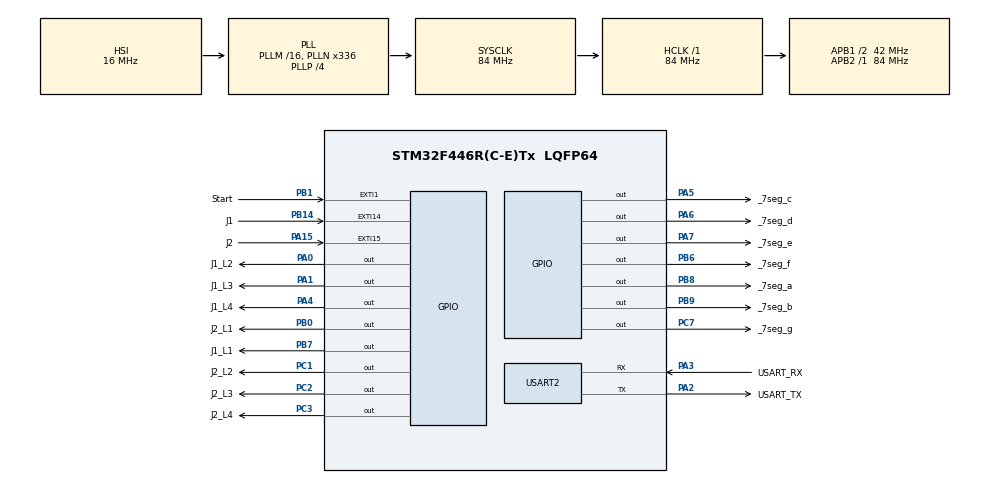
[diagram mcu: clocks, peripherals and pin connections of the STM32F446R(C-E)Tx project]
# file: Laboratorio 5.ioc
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Mcu.Family=STM32F4
Mcu.Name=STM32F446R(C-E)Tx
Mcu.Package=LQFP64
NVIC.EXTI15_10_IRQn=true\:0\:0\:false\:false\:true\:true\:true\:true
NVIC.EXTI1_IRQn=true\:0\:0\:false\:false\:true\:true\:true\:true
NVIC.PriorityGroup=NVIC_PRIORITYGROUP_0
PA0-WKUP.GPIO_Label=J1_L2
PA0-WKUP.Signal=GPIO_Output
PA1.GPIO_Label=J1_L3
PA1.Signal=GPIO_Output
PA15.GPIO_Label=J2
PA15.GPIO_ModeDefaultEXTI=GPIO_MODE_IT_FALLING
PA15.GPIO_PuPd=GPIO_PULLUP
PA15.Signal=GPXTI15
PA2.GPIO_Label=USART_TX
PA2.Mode=Asynchronous
PA2.Signal=USART2_TX
PA3.GPIO_Label=USART_RX
PA3.Mode=Asynchronous
PA3.Signal=USART2_RX
PA4.GPIO_Label=J1_L4
PA4.Signal=GPIO_Output
PA5.GPIO_Label=_7seg_c
PA5.Signal=GPIO_Output
PA6.GPIO_Label=_7seg_d
PA6.Signal=GPIO_Output
PA7.GPIO_Label=_7seg_e
PA7.Signal=GPIO_Output
PB0.GPIO_Label=J2_L1
PB0.Signal=GPIO_Output
PB1.GPIO_Label=Start
PB1.GPIO_ModeDefaultEXTI=GPIO_MODE_IT_FALLING
PB1.GPIO_PuPd=GPIO_PULLUP
PB1.Signal=GPXTI1
PB14.GPIO_Label=J1
PB14.GPIO_ModeDefaultEXTI=GPIO_MODE_IT_FALLING
PB14.GPIO_PuPd=GPIO_PULLUP
PB14.Signal=GPXTI14
PB3.GPIO_Label=SWO
PB3.Signal=SYS_JTDO-SWO
PB6.GPIO_Label=_7seg_f
PB6.Signal=GPIO_Output
PB7.GPIO_Label=J1_L1
PB7.Signal=GPIO_Output
PB8.GPIO_Label=_7seg_a
PB8.Signal=GPIO_Output
PB9.GPIO_Label=_7seg_b
PB9.Signal=GPIO_Output
PC1.GPIO_Label=J2_L2
PC1.Signal=GPIO_Output
PC14-OSC32_IN.Mode=LSE-External-Oscillator
PC14-OSC32_IN.Signal=RCC_OSC32_IN
PC15-OSC32_OUT.Mode=LSE-External-Oscillator
PC15-OSC32_OUT.Signal=RCC_OSC32_OUT
PC2.GPIO_Label=J2_L3
PC2.Signal=GPIO_Output
PC3.GPIO_Label=J2_L4
PC3.Signal=GPIO_Output
PC7.GPIO_Label=_7seg_g
PC7.Signal=GPIO_Output
PH0-OSC_IN.Mode=HSE-External-Oscillator
PH0-OSC_IN.Signal=RCC_OSC_IN
PH1-OSC_OUT.Mode=HSE-External-Oscillator
PH1-OSC_OUT.Signal=RCC_OSC_OUT
ProjectManager.HeapSize=0x200
ProjectManager.StackSize=0x400
ProjectManager.TargetToolchain=STM32CubeIDE
RCC.48MHZClocksFreq_Value=84000000
RCC.AHBFreq_Value=84000000
RCC.APB1CLKDivider=RCC_HCLK_DIV2
RCC.APB1Freq_Value=42000000
RCC.APB1TimFreq_Value=84000000
RCC.APB2Freq_Value=84000000
RCC.APB2TimFreq_Value=84000000
RCC.CortexFreq_Value=84000000
RCC.FLatency-AdvancedSettings=FLASH_LATENCY_2
RCC.HCLKFreq_Value=84000000
RCC.HSE_VALUE=8000000
RCC.HSI_VALUE=16000000
RCC.PLLN=336
RCC.PLLP=RCC_PLLP_DIV4
RCC.SYSCLKFreq_VALUE=84000000
RCC.SYSCLKSource=RCC_SYSCLKSOURCE_PLLCLK
RCC.USBFreq_Value=168000000
RCC.VCOOutputFreq_Value=336000000
USART2.VirtualMode=VM_ASYNC
board=NUCLEO-F446RE

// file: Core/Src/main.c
/* USER CODE BEGIN Header */
/**
  ******************************************************************************
  * @file           : main.c
  * @brief          : Main program body
  ******************************************************************************
  * @attention
  *
  * Copyright (c) 2025 STMicroelectronics.
  * All rights reserved.
  *
  * This software is licensed under terms that can be found in the LICENSE file
  * in the root directory of this software component.
  * If no LICENSE file comes with this software, it is provided AS-IS.
  *
  ******************************************************************************
  */
/* USER CODE END Header */
#include "main.h"

UART_HandleTypeDef huart2;

/* USER CODE BEGIN PV */
uint16_t estado = 0;        // Variable para guardar estado del juego.
uint16_t contador_J1 = 0;   //
uint16_t contador_J2 = 0;
uint16_t Ganador_J1 = 0;       //Guarda un número para indicar el ganador.
uint16_t Ganador_J2 = 0;
/* USER CODE END PV */

void SystemClock_Config(void);
static void MX_GPIO_Init(void);
static void MX_USART2_UART_Init(void);

int main(void)
{

  /* MCU Configuration--------------------------------------------------------*/

  /* Reset of all peripherals, Initializes the Flash interface and the Systick. */
  HAL_Init();

  /* Configure the system clock */
  SystemClock_Config();

  /* Initialize all configured peripherals */
  MX_GPIO_Init();
  MX_USART2_UART_Init();

  /* Infinite loop */
  /* USER CODE BEGIN WHILE */

  //HAL_GPIO_WritePin(J1_L1_GPIO_Port, J1_L1_Pin, SET);
  while (1)
  {

	  refreshPort();
	  Ganador_indicador();
	  _7seg_output();

    /* USER CODE END WHILE */

  }
}

void SystemClock_Config(void)
{
  RCC_OscInitTypeDef RCC_OscInitStruct = {0};
  RCC_ClkInitTypeDef RCC_ClkInitStruct = {0};

  /** Configure the main internal regulator output voltage
  */
  __HAL_RCC_PWR_CLK_ENABLE();
  __HAL_PWR_VOLTAGESCALING_CONFIG(PWR_REGULATOR_VOLTAGE_SCALE3);

  /** Initializes the RCC Oscillators according to the specified parameters
  * in the RCC_OscInitTypeDef structure.
  */
  RCC_OscInitStruct.OscillatorType = RCC_OSCILLATORTYPE_HSI;
  RCC_OscInitStruct.HSIState = RCC_HSI_ON;
  RCC_OscInitStruct.HSICalibrationValue = RCC_HSICALIBRATION_DEFAULT;
  RCC_OscInitStruct.PLL.PLLState = RCC_PLL_ON;
  RCC_OscInitStruct.PLL.PLLSource = RCC_PLLSOURCE_HSI;
  RCC_OscInitStruct.PLL.PLLM = 16;
  RCC_OscInitStruct.PLL.PLLN = 336;
  RCC_OscInitStruct.PLL.PLLP = RCC_PLLP_DIV4;
  RCC_OscInitStruct.PLL.PLLQ = 2;
  RCC_OscInitStruct.PLL.PLLR = 2;
  if (HAL_RCC_OscConfig(&RCC_OscInitStruct) != HAL_OK)
  {
    Error_Handler();
  }

  /** Initializes the CPU, AHB and APB buses clocks
  */
  RCC_ClkInitStruct.ClockType = RCC_CLOCKTYPE_HCLK|RCC_CLOCKTYPE_SYSCLK
                              |RCC_CLOCKTYPE_PCLK1|RCC_CLOCKTYPE_PCLK2;
  RCC_ClkInitStruct.SYSCLKSource = RCC_SYSCLKSOURCE_PLLCLK;
  RCC_ClkInitStruct.AHBCLKDivider = RCC_SYSCLK_DIV1;
  RCC_ClkInitStruct.APB1CLKDivider = RCC_HCLK_DIV2;
  RCC_ClkInitStruct.APB2CLKDivider = RCC_HCLK_DIV1;

  if (HAL_RCC_ClockConfig(&RCC_ClkInitStruct, FLASH_LATENCY_2) != HAL_OK)
  {
    Error_Handler();
  }
}

static void MX_USART2_UART_Init(void)
{

  huart2.Instance = USART2;
  huart2.Init.BaudRate = 115200;
  huart2.Init.WordLength = UART_WORDLENGTH_8B;
  huart2.Init.StopBits = UART_STOPBITS_1;
  huart2.Init.Parity = UART_PARITY_NONE;
  huart2.Init.Mode = UART_MODE_TX_RX;
  huart2.Init.HwFlowCtl = UART_HWCONTROL_NONE;
  huart2.Init.OverSampling = UART_OVERSAMPLING_16;
  if (HAL_UART_Init(&huart2) != HAL_OK)
  {
    Error_Handler();
  }

}

static void MX_GPIO_Init(void)
{
  GPIO_InitTypeDef GPIO_InitStruct = {0};

  /* GPIO Ports Clock Enable */
  __HAL_RCC_GPIOC_CLK_ENABLE();
  __HAL_RCC_GPIOH_CLK_ENABLE();
  __HAL_RCC_GPIOA_CLK_ENABLE();
  __HAL_RCC_GPIOB_CLK_ENABLE();

  /*Configure GPIO pin Output Level */
  HAL_GPIO_WritePin(GPIOC, J2_L2_Pin|J2_L3_Pin|J2_L4_Pin|_7seg_g_Pin, GPIO_PIN_RESET);

  /*Configure GPIO pin Output Level */
  HAL_GPIO_WritePin(GPIOA, J1_L2_Pin|J1_L3_Pin|J1_L4_Pin|_7seg_c_Pin
                          |_7seg_d_Pin|_7seg_e_Pin, GPIO_PIN_RESET);

  /*Configure GPIO pin Output Level */
  HAL_GPIO_WritePin(GPIOB, J2_L1_Pin|_7seg_f_Pin|J1_L1_Pin|_7seg_a_Pin
                          |_7seg_b_Pin, GPIO_PIN_RESET);

  /*Configure GPIO pins : J2_L2_Pin J2_L3_Pin J2_L4_Pin _7seg_g_Pin */
  GPIO_InitStruct.Pin = J2_L2_Pin|J2_L3_Pin|J2_L4_Pin|_7seg_g_Pin;
  GPIO_InitStruct.Mode = GPIO_MODE_OUTPUT_PP;
  GPIO_InitStruct.Pull = GPIO_NOPULL;
  GPIO_InitStruct.Speed = GPIO_SPEED_FREQ_LOW;
  HAL_GPIO_Init(GPIOC, &GPIO_InitStruct);

  /*Configure GPIO pins : J1_L2_Pin J1_L3_Pin J1_L4_Pin _7seg_c_Pin
                           _7seg_d_Pin _7seg_e_Pin */
  GPIO_InitStruct.Pin = J1_L2_Pin|J1_L3_Pin|J1_L4_Pin|_7seg_c_Pin
                          |_7seg_d_Pin|_7seg_e_Pin;
  GPIO_InitStruct.Mode = GPIO_MODE_OUTPUT_PP;
  GPIO_InitStruct.Pull = GPIO_NOPULL;
  GPIO_InitStruct.Speed = GPIO_SPEED_FREQ_LOW;
  HAL_GPIO_Init(GPIOA, &GPIO_InitStruct);

  /*Configure GPIO pins : J2_L1_Pin _7seg_f_Pin J1_L1_Pin _7seg_a_Pin
                           _7seg_b_Pin */
  GPIO_InitStruct.Pin = J2_L1_Pin|_7seg_f_Pin|J1_L1_Pin|_7seg_a_Pin
                          |_7seg_b_Pin;
  GPIO_InitStruct.Mode = GPIO_MODE_OUTPUT_PP;
  GPIO_InitStruct.Pull = GPIO_NOPULL;
  GPIO_InitStruct.Speed = GPIO_SPEED_FREQ_LOW;
  HAL_GPIO_Init(GPIOB, &GPIO_InitStruct);

  /*Configure GPIO pins : Start_Pin J1_Pin */
  GPIO_InitStruct.Pin = Start_Pin|J1_Pin;
  GPIO_InitStruct.Mode = GPIO_MODE_IT_FALLING;
  GPIO_InitStruct.Pull = GPIO_PULLUP;
  HAL_GPIO_Init(GPIOB, &GPIO_InitStruct);

  /*Configure GPIO pin : J2_Pin */
  GPIO_InitStruct.Pin = J2_Pin;
  GPIO_InitStruct.Mode = GPIO_MODE_IT_FALLING;
  GPIO_InitStruct.Pull = GPIO_PULLUP;
  HAL_GPIO_Init(J2_GPIO_Port, &GPIO_InitStruct);

  /* EXTI interrupt init*/
  HAL_NVIC_SetPriority(EXTI1_IRQn, 0, 0);
  HAL_NVIC_EnableIRQ(EXTI1_IRQn);

  HAL_NVIC_SetPriority(EXTI15_10_IRQn, 0, 0);
  HAL_NVIC_EnableIRQ(EXTI15_10_IRQn);

}

/* USER CODE BEGIN 4 */
void HAL_GPIO_EXTI_Callback(uint16_t GPIO_Pin){

	if(GPIO_Pin == Start_Pin){
				estado++;
				if (estado > 1 ){estado = 0; Ganador_J1 = 0; Ganador_J2 = 0;}
			}
	if(GPIO_Pin == J1_Pin){
		if (estado == 1){
		contador_J1++;
		if (contador_J1 >4){contador_J1 = 0; contador_J2 = 0; estado = 0;}
		}
	}

	if(GPIO_Pin == J2_Pin){
		if (estado == 1){
			contador_J2++;
			if (contador_J2 >4){contador_J1 = 0; contador_J2 = 0; estado = 0;}
		}
	}

}

void refreshPort(void){
	//if (contador == contador_J1){

	switch (contador_J1){
	case 1:
		HAL_GPIO_WritePin(J1_L1_GPIO_Port, J1_L1_Pin, SET);
		HAL_GPIO_WritePin(J1_L2_GPIO_Port, J1_L2_Pin, RESET);
		HAL_GPIO_WritePin(J1_L3_GPIO_Port, J1_L3_Pin, RESET);
		HAL_GPIO_WritePin(J1_L4_GPIO_Port, J1_L4_Pin, RESET);
		break;
	case 2:
		HAL_GPIO_WritePin(J1_L1_GPIO_Port, J1_L1_Pin, SET);
		HAL_GPIO_WritePin(J1_L2_GPIO_Port, J1_L2_Pin, SET);
    	HAL_GPIO_WritePin(J1_L3_GPIO_Port, J1_L3_Pin, RESET);
    	HAL_GPIO_WritePin(J1_L4_GPIO_Port, J1_L4_Pin, RESET);
    	break;
	case 3:
		HAL_GPIO_WritePin(J1_L1_GPIO_Port, J1_L1_Pin, SET);
		HAL_GPIO_WritePin(J1_L2_GPIO_Port, J1_L2_Pin, SET);
		HAL_GPIO_WritePin(J1_L3_GPIO_Port, J1_L3_Pin, SET);
		HAL_GPIO_WritePin(J1_L4_GPIO_Port, J1_L4_Pin, RESET);
		break;
	case 4:
		HAL_GPIO_WritePin(J1_L1_GPIO_Port, J1_L1_Pin, SET);
		HAL_GPIO_WritePin(J1_L2_GPIO_Port, J1_L2_Pin, SET);
		HAL_GPIO_WritePin(J1_L3_GPIO_Port, J1_L3_Pin, SET);
		HAL_GPIO_WritePin(J1_L4_GPIO_Port, J1_L4_Pin, SET);
		break;
	default:
		HAL_GPIO_WritePin(J1_L1_GPIO_Port, J1_L1_Pin, RESET);
		HAL_GPIO_WritePin(J1_L2_GPIO_Port, J1_L2_Pin, RESET);
		HAL_GPIO_WritePin(J1_L3_GPIO_Port, J1_L3_Pin, RESET);
		HAL_GPIO_WritePin(J1_L4_GPIO_Port, J1_L4_Pin, RESET);

	}

	switch (contador_J2){
		case 1:
			HAL_GPIO_WritePin(J2_L1_GPIO_Port, J2_L1_Pin, SET);
			HAL_GPIO_WritePin(J2_L2_GPIO_Port, J2_L2_Pin, RESET);
			HAL_GPIO_WritePin(J2_L3_GPIO_Port, J2_L3_Pin, RESET);
			HAL_GPIO_WritePin(J2_L4_GPIO_Port, J2_L4_Pin, RESET);
			break;
		case 2:
			HAL_GPIO_WritePin(J2_L1_GPIO_Port, J2_L1_Pin, SET);
			HAL_GPIO_WritePin(J2_L2_GPIO_Port, J2_L2_Pin, SET);
	    	HAL_GPIO_WritePin(J2_L3_GPIO_Port, J2_L3_Pin, RESET);
	    	HAL_GPIO_WritePin(J2_L4_GPIO_Port, J2_L4_Pin, RESET);
	    	break;
		case 3:
			HAL_GPIO_WritePin(J2_L1_GPIO_Port, J2_L1_Pin, SET);
			HAL_GPIO_WritePin(J2_L2_GPIO_Port, J2_L2_Pin, SET);
			HAL_GPIO_WritePin(J2_L3_GPIO_Port, J2_L3_Pin, SET);
			HAL_GPIO_WritePin(J2_L4_GPIO_Port, J2_L4_Pin, RESET);
			break;
		case 4:
			HAL_GPIO_WritePin(J2_L1_GPIO_Port, J2_L1_Pin, SET);
			HAL_GPIO_WritePin(J2_L2_GPIO_Port, J2_L2_Pin, SET);
			HAL_GPIO_WritePin(J2_L3_GPIO_Port, J2_L3_Pin, SET);
			HAL_GPIO_WritePin(J2_L4_GPIO_Port, J2_L4_Pin, SET);
			break;
		default:
			HAL_GPIO_WritePin(J2_L1_GPIO_Port, J2_L1_Pin, RESET);
			HAL_GPIO_WritePin(J2_L2_GPIO_Port, J2_L2_Pin, RESET);
			HAL_GPIO_WritePin(J2_L3_GPIO_Port, J2_L3_Pin, RESET);
			HAL_GPIO_WritePin(J2_L4_GPIO_Port, J2_L4_Pin, RESET);

		}

}

void _7seg_output(void){
	if(Ganador_J1 == 1){
	switch (Ganador_J1){
		case 1:
			HAL_GPIO_WritePin(_7seg_a_GPIO_Port, _7seg_a_Pin, RESET);
			HAL_GPIO_WritePin(_7seg_b_GPIO_Port, _7seg_b_Pin, SET);
			HAL_GPIO_WritePin(_7seg_c_GPIO_Port, _7seg_c_Pin, SET);
			HAL_GPIO_WritePin(_7seg_d_GPIO_Port, _7seg_d_Pin, RESET);
			HAL_GPIO_WritePin(_7seg_e_GPIO_Port, _7seg_e_Pin, RESET);
			HAL_GPIO_WritePin(_7seg_f_GPIO_Port, _7seg_f_Pin, RESET);
			HAL_GPIO_WritePin(_7seg_g_GPIO_Port, _7seg_g_Pin, RESET);
		/*case 2:
			HAL_GPIO_WritePin(_7seg_a_GPIO_Port, _7seg_a_Pin, SET);
			HAL_GPIO_WritePin(_7seg_b_GPIO_Port, _7seg_b_Pin, SET);
			HAL_GPIO_WritePin(_7seg_c_GPIO_Port, _7seg_c_Pin, RESET);
			HAL_GPIO_WritePin(_7seg_d_GPIO_Port, _7seg_d_Pin, SET);
			HAL_GPIO_WritePin(_7seg_e_GPIO_Port, _7seg_e_Pin, SET);
			HAL_GPIO_WritePin(_7seg_f_GPIO_Port, _7seg_f_Pin, RESET);
			HAL_GPIO_WritePin(_7seg_g_GPIO_Port, _7seg_g_Pin, SET);*/
		default:
			HAL_GPIO_WritePin(_7seg_a_GPIO_Port, _7seg_a_Pin, RESET);
			HAL_GPIO_WritePin(_7seg_b_GPIO_Port, _7seg_b_Pin, RESET);
			HAL_GPIO_WritePin(_7seg_c_GPIO_Port, _7seg_c_Pin, RESET);
			HAL_GPIO_WritePin(_7seg_d_GPIO_Port, _7seg_d_Pin, RESET);
			HAL_GPIO_WritePin(_7seg_e_GPIO_Port, _7seg_e_Pin, RESET);
			HAL_GPIO_WritePin(_7seg_f_GPIO_Port, _7seg_f_Pin, RESET);
			HAL_GPIO_WritePin(_7seg_g_GPIO_Port, _7seg_g_Pin, RESET);
	} //Fin del switch case
	}//Fin del if

	if(Ganador_J2 == 2){
		switch (Ganador_J2){
			/*case 1:
				HAL_GPIO_WritePin(_7seg_a_GPIO_Port, _7seg_a_Pin, RESET);
				HAL_GPIO_WritePin(_7seg_b_GPIO_Port, _7seg_b_Pin, SET);
				HAL_GPIO_WritePin(_7seg_c_GPIO_Port, _7seg_c_Pin, SET);
				HAL_GPIO_WritePin(_7seg_d_GPIO_Port, _7seg_d_Pin, RESET);
				HAL_GPIO_WritePin(_7seg_e_GPIO_Port, _7seg_e_Pin, RESET);
				HAL_GPIO_WritePin(_7seg_f_GPIO_Port, _7seg_f_Pin, RESET);
				HAL_GPIO_WritePin(_7seg_g_GPIO_Port, _7seg_g_Pin, RESET);*/
			case 2:
				HAL_GPIO_WritePin(_7seg_a_GPIO_Port, _7seg_a_Pin, SET);
				HAL_GPIO_WritePin(_7seg_b_GPIO_Port, _7seg_b_Pin, SET);
				HAL_GPIO_WritePin(_7seg_c_GPIO_Port, _7seg_c_Pin, RESET);
				HAL_GPIO_WritePin(_7seg_d_GPIO_Port, _7seg_d_Pin, SET);
				HAL_GPIO_WritePin(_7seg_e_GPIO_Port, _7seg_e_Pin, SET);
				HAL_GPIO_WritePin(_7seg_f_GPIO_Port, _7seg_f_Pin, RESET);
				HAL_GPIO_WritePin(_7seg_g_GPIO_Port, _7seg_g_Pin, SET);
			default:
				HAL_GPIO_WritePin(_7seg_a_GPIO_Port, _7seg_a_Pin, RESET);
				HAL_GPIO_WritePin(_7seg_b_GPIO_Port, _7seg_b_Pin, RESET);
				HAL_GPIO_WritePin(_7seg_c_GPIO_Port, _7seg_c_Pin, RESET);
				HAL_GPIO_WritePin(_7seg_d_GPIO_Port, _7seg_d_Pin, RESET);
				HAL_GPIO_WritePin(_7seg_e_GPIO_Port, _7seg_e_Pin, RESET);
				HAL_GPIO_WritePin(_7seg_f_GPIO_Port, _7seg_f_Pin, RESET);
				HAL_GPIO_WritePin(_7seg_g_GPIO_Port, _7seg_g_Pin, RESET);
		}//Fin del switch case
		}//Fin del if

}

void Ganador_indicador (void){
	if (contador_J1 == 4){
		Ganador_J1 = 1;
	} else {Ganador_J1 = 0;}

	if (contador_J2 == 4){
		Ganador_J2 = 2;
	} else {Ganador_J2 = 0;}
}

/* USER CODE END 4 */

void Error_Handler(void)
{
  __disable_irq();
  while (1)
  {
  }
}
